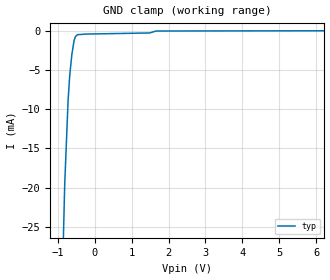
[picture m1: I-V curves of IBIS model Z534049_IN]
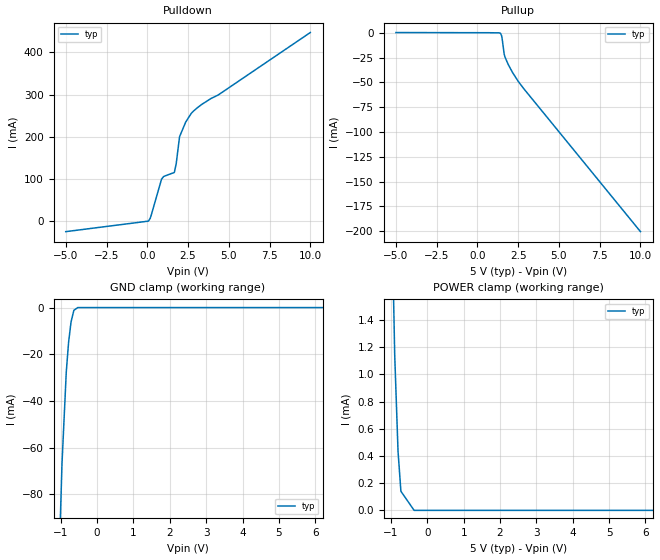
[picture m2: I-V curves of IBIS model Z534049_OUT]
| YOU ARE ONLY AUTHORIZED TO USE THIS SOFTWARE
| ACCORDING TO LICENSOR'S LICENSE RESTRICTIONS.
[IBIS Ver] 3.1
[File Name] mc74f04d.ibs
[File Rev] 2.0
[Source] Measured and created by ICX Technology
[Date] Friday 7/14/00 9:08:03 AM
[Copyright]
| (C) COPYRIGHT 1993-2000
| MENTOR GRAPHICS CORPORATION
| ICX STANDARD LIBRARY, ICX PROJECT MODELING,
| ICX CUSTOM MODELING, ICX VENDOR MODEL
| ALL RIGHTS RESERVED.
| THE FOLLOWING ARE TRADEMARKS OR SERVICE MARKS OF
| MENTOR GRAPHICS CORPORATION:ICX (R), ICX STANDARD
| LIBRARY(R), ICX PROJECT MODELING(R), ICX CUSTOM
| MODELING(R), qualityIBIS(TM), MODELVIEWER(TM),
| AND MODELEDITOR(TM)
| ALL COPIES OF SOFTWARE, INCLUDING BUT NOT LIMITED TO
| ANY MODIFICATIONS, ENHANCEMENTS OR DERIVATIVE WORKS,
| MUST CONTAIN ALL MENTOR GRAPHICS CORPORATION'S
| NOTICES AND LEGENDS, INCLUDING THOSE EMBEDDED IN
| SOFTWARE AND THOSE AFFIXED TO SOFTWARE MEDIUM
| AND CONTAINER, AS RECEIVED FROM MENTOR GRAPHICS
| CORPORATION.
|  ZAP Model Builder 2.7
[Component] MC74F04D
[Manufacturer] OnSemiconductor
[Package]
| variable   typ   min   max
R_pkg  .155ohms NA NA
L_pkg  3.028nH NA NA
C_pkg  .381pF NA NA
[Pin] signal_name  model_name  R_pin  L_pin C_pin
1 A Z534049_IN .16 3.587n .407p
2 Y Z534049_OUT .156 3.147n .387p
3 A Z534049_IN .152 2.717n .367p
4 Y Z534049_OUT .148 2.297n .347p
5 A Z534049_IN .152 2.717n .367p
6 Y Z534049_OUT .156 3.147n .387p
7 GND GND .16 3.587n .407p
8 Y Z534049_OUT .16 3.587n .407p
9 A Z534049_IN .156 3.147n .387p
10 Y Z534049_OUT .152 2.717n .367p
11 A Z534049_IN .148 2.297n .347p
12 Y Z534049_OUT .152 2.717n .367p
13 A Z534049_IN .156 3.147n .387p
14 VCC POWER .16 3.587n .407p
| Models and submodels in the file (2): Z534049_IN (Input), Z534049_OUT (Output)
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| (C) COPYRIGHT 1993-2000
| MENTOR GRAPHICS CORPORATION
| ICX STANDARD LIBRARY, ICX PROJECT MODELING,
| ICX CUSTOM MODELING, ICX VENDOR MODEL
| ALL RIGHTS RESERVED.
| THE FOLLOWING ARE TRADEMARKS OR SERVICE MARKS OF
| MENTOR GRAPHICS CORPORATION:ICX (R), ICX STANDARD
| LIBRARY(R), ICX PROJECT MODELING(R), ICX CUSTOM
| MODELING(R), qualityIBIS(TM), MODELVIEWER(TM),
| AND MODELEDITOR(TM)
| ALL COPIES OF SOFTWARE, INCLUDING BUT NOT LIMITED TO
| ANY MODIFICATIONS, ENHANCEMENTS OR DERIVATIVE WORKS,
| MUST CONTAIN ALL MENTOR GRAPHICS CORPORATION'S
| NOTICES AND LEGENDS, INCLUDING THOSE EMBEDDED IN
| SOFTWARE AND THOSE AFFIXED TO SOFTWARE MEDIUM
| AND CONTAINER, AS RECEIVED FROM MENTOR GRAPHICS
| CORPORATION.
| Model Application Version 1.89 2/18/99.
[Model] Z534049_IN
Model_type Input
Vinl = 800.0mV
Vinh = 2.000V
C_comp 4.000pF NA NA
| variable typ   min   max
[Voltage Range] 5.000V NA NA
[GND Clamp Reference] 0.000V NA NA
[POWER Clamp Reference] 5.000V NA NA
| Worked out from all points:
|   GND clamp passes 1 mA (typ) near -0.54 V on its own axis
[GND Clamp]
-5V       -824.2mA   NA         NA
-809.4mV  -19.6mA    NA         NA
-717.8mV  -8.879mA   NA         NA
-672.7mV  -5.635mA   NA         NA
-615.4mV  -2.99mA    NA         NA
-556.8mV  -1.25mA    NA         NA
-522.6mV  -762.2uA   NA         NA
-461.3mV  -480.7uA   NA         NA
1.488V    -261.2uA   NA         NA
1.665V    -12.66uA   NA         NA
10V       44.26uA    NA         NA
[POWER Clamp]
-5V       0A         NA         NA
10V       0A         NA         NA
| (C) COPYRIGHT 1993-2000
| MENTOR GRAPHICS CORPORATION
| ICX STANDARD LIBRARY, ICX PROJECT MODELING,
| ICX CUSTOM MODELING, ICX VENDOR MODEL
| ALL RIGHTS RESERVED.
| THE FOLLOWING ARE TRADEMARKS OR SERVICE MARKS OF
| MENTOR GRAPHICS CORPORATION:ICX (R), ICX STANDARD
| LIBRARY(R), ICX PROJECT MODELING(R), ICX CUSTOM
| MODELING(R), qualityIBIS(TM), MODELVIEWER(TM),
| AND MODELEDITOR(TM)
| ALL COPIES OF SOFTWARE, INCLUDING BUT NOT LIMITED TO
| ANY MODIFICATIONS, ENHANCEMENTS OR DERIVATIVE WORKS,
| MUST CONTAIN ALL MENTOR GRAPHICS CORPORATION'S
| NOTICES AND LEGENDS, INCLUDING THOSE EMBEDDED IN
| SOFTWARE AND THOSE AFFIXED TO SOFTWARE MEDIUM
| AND CONTAINER, AS RECEIVED FROM MENTOR GRAPHICS
| CORPORATION.
| Model Application Version 1.89 2/18/99.
[Model] Z534049_OUT
Model_type Output
Vref=0.000V
Rref=500.0ohms
Cref=50.00pF
Vmeas=1.500V
C_comp 8.000pF NA NA
| variable typ   min   max
[Voltage Range] 5.000V NA NA
[POWER Clamp Reference] 5.000V NA NA
[Pullup Reference] 5.000V NA NA
[Pulldown Reference] 0.000V NA NA
[GND Clamp Reference] 0.000V NA NA
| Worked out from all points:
|   slope of the pulldown table from 0 to 0.75 V, typ, clamps not added: 9.02 ohm
|   slope of the pullup table from 0 to 0.75 V, typ, clamps not added: 23.4 kohm
|   GND clamp passes 1 mA (typ) near -0.63 V on its own axis
|   POWER clamp passes 1 mA (typ) near -0.88 V on its own axis
[GND Clamp]
-5V       -2.704A    NA         NA
-1.069V   -120.2mA   NA         NA
-966.8mV  -66.86mA   NA         NA
-849.6mV  -27.69mA   NA         NA
-785.1mV  -14.79mA   NA         NA
-717.7mV  -6.131mA   NA         NA
-639.7mV  -1.148mA   NA         NA
-533.1mV  0A         NA         NA
10V       0A         NA         NA
[Pulldown]
-5V       -26.32mA   NA         NA
87.89mV   -530.1uA   NA         NA
253.8mV   14.36mA    NA         NA
879.4mV   98.98mA    NA         NA
1.011V    105.1mA    NA         NA
1.66V     114.5mA    NA         NA
1.777V    135.7mA    NA         NA
1.982V    199.7mA    NA         NA
2.363V    234.8mA    NA         NA
2.701V    255.2mA    NA         NA
3.336V    276.3mA    NA         NA
10V       447.5mA    NA         NA
[Pullup]
-5V       196.9uA    NA         NA
1.416V    -662.2uA   NA         NA
1.475V    -2.684mA   NA         NA
1.51V     -5.378mA   NA         NA
1.641V    -21.67mA   NA         NA
1.69V     -24.51mA   NA         NA
1.88V     -31.72mA   NA         NA
2.153V    -40.06mA   NA         NA
2.5V      -48.95mA   NA         NA
10V       -200.4mA   NA         NA
[POWER Clamp]
-5V       55.44mA    NA         NA
-1.66V    14.06mA    NA         NA
-1.543V   12.18mA    NA         NA
-1.21V    5.894mA    NA         NA
-1.039V   3.044mA    NA         NA
-898mV    1.147mA    NA         NA
-806mV    434.4uA    NA         NA
-727mV    140.2uA    NA         NA
-363.5mV  0A         NA         NA
10V       0A         NA         NA
[Ramp]
| variable typ min max
dV/dt_r 2.031/2.974n NA NA
dV/dt_f 2.031/391.7p NA NA
R_load = 500.0Ohms
